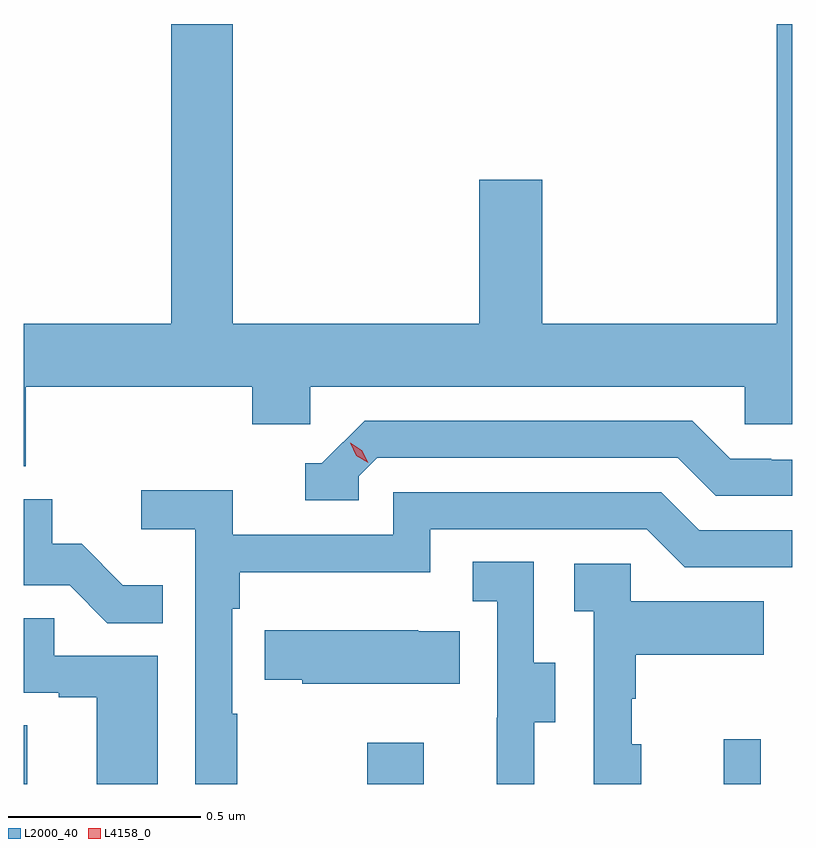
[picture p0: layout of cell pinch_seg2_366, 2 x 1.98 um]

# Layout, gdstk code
import gdstk
lib = gdstk.Library(unit=1e-6, precision=1e-09)
def R(c, l, rs):  # rectangles x0, y0, x1, y1
    for r in rs: c.add(gdstk.rectangle(r[:2], r[2:], *l))
def P(c, l, *ps):  # polygons
    for p in ps: c.add(gdstk.Polygon(p, *l))
L2000_40 = (2000, 40)
L4158_0 = (4158, 0)

pinch_seg2_366 = lib.new_cell('pinch_seg2_366')
R(pinch_seg2_366, L2000_40, [(979.006,635.945,979.015,636.098), (979.9,635.945,980.047,636.052), (980.828,635.945,980.925,636.061)])
P(pinch_seg2_366, L2000_40, [(979.601,636.882),(979.752,636.882),(979.752,636.98),(980.883,636.98),(980.883,636.882),(981.006,636.882),(981.006,637.924),(980.966,637.924),(980.966,637.144),(980.356,637.144),(980.356,637.519),(980.192,637.519),(980.192,637.144),(979.55,637.144),(979.55,637.924),(979.39,637.924),(979.39,637.144),(979.006,637.144),(979.006,636.772),(979.01,636.772),(979.01,636.98),(979.601,636.98)],
  [(979.878,636.747),(979.926,636.795),(980.709,636.795),(980.808,636.696),(981.006,636.696),(981.006,636.789),(980.952,636.789),(980.952,636.792),(980.845,636.792),(980.746,636.891),(979.893,636.891),(979.782,636.78),(979.739,636.78),(979.739,636.684),(979.878,636.684)],
  [(979.561,636.128),(979.548,636.128),(979.548,636.401),(979.568,636.401),(979.568,636.497),(980.064,636.497),(980.064,636.609),(980.628,636.609),(980.727,636.51),(981.006,636.51),(981.006,636.606),(980.764,636.606),(980.665,636.705),(979.968,636.705),(979.968,636.594),(979.55,636.594),(979.55,636.71),(979.311,636.71),(979.311,636.608),(979.452,636.608),(979.452,635.945),(979.561,635.945)],
  [(979.367,636.463),(979.263,636.463),(979.156,636.57),(979.08,636.57),(979.08,636.687),(979.006,636.687),(979.006,636.462),(979.125,636.462),(979.223,636.364),(979.367,636.364)],
  [(980.335,636.106),(980.389,636.106),(980.389,636.261),(980.334,636.261),(980.334,636.524),(980.175,636.524),(980.175,636.421),(980.238,636.421),(980.238,636.117),(980.237,636.117),(980.237,635.945),(980.335,635.945)],
  [(980.614,636.048),(980.589,636.048),(980.589,636.167),(980.599,636.167),(980.599,636.281),(980.933,636.281),(980.933,636.421),(980.586,636.421),(980.586,636.519),(980.439,636.519),(980.439,636.395),(980.49,636.395),(980.49,635.945),(980.614,635.945)],
  [(979.354,636.279),(979.085,636.279),(979.085,636.377),(979.006,636.377),(979.006,636.183),(979.097,636.183),(979.097,636.171),(979.196,636.171),(979.196,635.945),(979.354,635.945)],
  [(980.141,636.343),(980.033,636.343),(980.033,636.346),(979.633,636.346),(979.633,636.217),(979.731,636.217),(979.731,636.206),(980.141,636.206)])
P(pinch_seg2_366, L4158_0, [(979.902,636.781),(979.871,636.8),(979.855,636.833),(979.855,636.833),(979.855,636.833),(979.886,636.814),(979.902,636.781),(979.902,636.781)])

lib.write_gds('pinch_seg2_366.gds')
